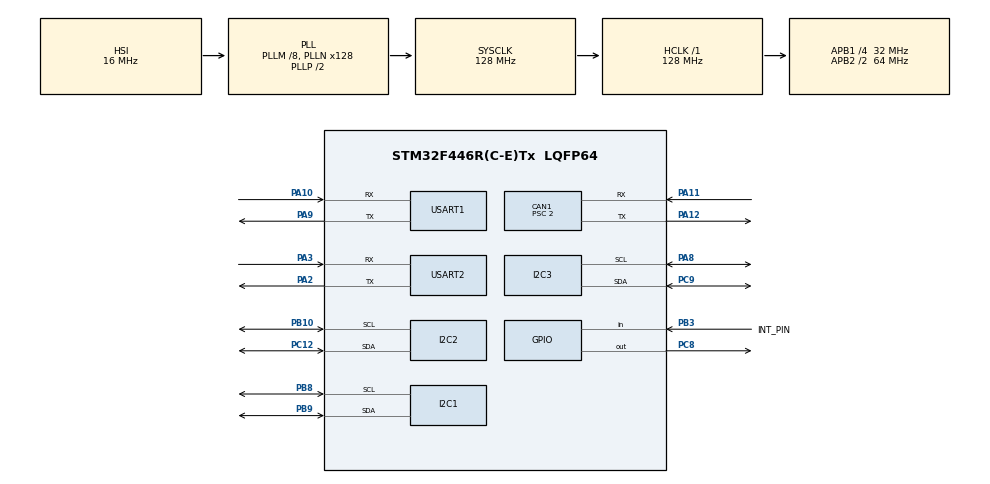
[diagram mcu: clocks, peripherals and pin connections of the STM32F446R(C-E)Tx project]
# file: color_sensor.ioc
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CAN1.BS1=CAN_BS1_14TQ
CAN1.CalculateBaudRate=1000000
CAN1.CalculateTimeBit=1000
CAN1.CalculateTimeQuantum=62.5
CAN1.Prescaler=2
Dma.Request0=USART2_RX
Dma.Request1=USART2_TX
Dma.USART2_RX.0.Direction=DMA_PERIPH_TO_MEMORY
Dma.USART2_RX.0.FIFOMode=DMA_FIFOMODE_DISABLE
Dma.USART2_RX.0.Instance=DMA1_Stream5
Dma.USART2_RX.0.MemDataAlignment=DMA_MDATAALIGN_BYTE
Dma.USART2_RX.0.MemInc=DMA_MINC_ENABLE
Dma.USART2_RX.0.Mode=DMA_NORMAL
Dma.USART2_RX.0.PeriphDataAlignment=DMA_PDATAALIGN_BYTE
Dma.USART2_RX.0.PeriphInc=DMA_PINC_DISABLE
Dma.USART2_RX.0.Priority=DMA_PRIORITY_LOW
Dma.USART2_TX.1.Direction=DMA_MEMORY_TO_PERIPH
Dma.USART2_TX.1.FIFOMode=DMA_FIFOMODE_DISABLE
Dma.USART2_TX.1.Instance=DMA1_Stream6
Dma.USART2_TX.1.MemDataAlignment=DMA_MDATAALIGN_BYTE
Dma.USART2_TX.1.MemInc=DMA_MINC_ENABLE
Dma.USART2_TX.1.Mode=DMA_NORMAL
Dma.USART2_TX.1.PeriphDataAlignment=DMA_PDATAALIGN_BYTE
Dma.USART2_TX.1.PeriphInc=DMA_PINC_DISABLE
Dma.USART2_TX.1.Priority=DMA_PRIORITY_LOW
I2C1.I2C_Mode=I2C_Standard
I2C3.I2C_Mode=I2C_Fast
Mcu.Family=STM32F4
Mcu.Name=STM32F446R(C-E)Tx
Mcu.Package=LQFP64
NVIC.DMA1_Stream5_IRQn=true\:0\:0\:false\:false\:true\:false\:true\:true
NVIC.DMA1_Stream6_IRQn=true\:0\:0\:false\:false\:true\:false\:true\:true
NVIC.PriorityGroup=NVIC_PRIORITYGROUP_0
NVIC.TIM8_BRK_TIM12_IRQn=true\:0\:0\:false\:false\:true\:true\:true\:true
PA10.Mode=Asynchronous
PA10.Signal=USART1_RX
PA11.Mode=CAN_Activate
PA11.Signal=CAN1_RX
PA12.Mode=CAN_Activate
PA12.Signal=CAN1_TX
PA2.Mode=Asynchronous
PA2.Signal=USART2_TX
PA3.Mode=Asynchronous
PA3.Signal=USART2_RX
PA8.Mode=I2C
PA8.Signal=I2C3_SCL
PA9.Mode=Asynchronous
PA9.Signal=USART1_TX
PB10.Mode=I2C
PB10.Signal=I2C2_SCL
PB3.GPIO_Label=INT_PIN
PB3.Signal=GPIO_Input
PB8.Mode=I2C
PB8.Signal=I2C1_SCL
PB9.Mode=I2C
PB9.Signal=I2C1_SDA
PC12.Mode=I2C
PC12.Signal=I2C2_SDA
PC8.Signal=GPIO_Output
PC9.Mode=I2C
PC9.Signal=I2C3_SDA
ProjectManager.HeapSize=0x200
ProjectManager.StackSize=0x400
ProjectManager.TargetToolchain=STM32CubeIDE
RCC.48MHZClocksFreq_Value=84000000
RCC.AHBFreq_Value=128000000
RCC.APB1CLKDivider=RCC_HCLK_DIV4
RCC.APB1Freq_Value=32000000
RCC.APB1TimFreq_Value=64000000
RCC.APB2CLKDivider=RCC_HCLK_DIV2
RCC.APB2Freq_Value=64000000
RCC.APB2TimFreq_Value=128000000
RCC.CortexFreq_Value=128000000
RCC.FLatency-AdvancedSettings=FLASH_LATENCY_4
RCC.HCLKFreq_Value=128000000
RCC.HSE_VALUE=8000000
RCC.HSI_VALUE=16000000
RCC.PLLM=8
RCC.PLLN=128
RCC.SYSCLKFreq_VALUE=128000000
RCC.SYSCLKSource=RCC_SYSCLKSOURCE_PLLCLK
RCC.USBFreq_Value=128000000
RCC.VCOOutputFreq_Value=256000000
TIM12.AutoReloadPreload=TIM_AUTORELOAD_PRELOAD_ENABLE
TIM12.Period=2-1
TIM12.Prescaler=64000-1
USART1.VirtualMode=VM_ASYNC
USART2.VirtualMode=VM_ASYNC
VP_TIM12_VS_ClockSourceINT.Mode=Internal
board=NUCLEO-F446RE

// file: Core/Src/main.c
/* USER CODE BEGIN Header */
/**
  ******************************************************************************
  * @file           : main.c
  * @brief          : Main program body
  ******************************************************************************
  * @attention
  *
  * Copyright (c) 2024 STMicroelectronics.
  * All rights reserved.
  *
  * This software is licensed under terms that can be found in the LICENSE file
  * in the root directory of this software component.
  * If no LICENSE file comes with this software, it is provided AS-IS.
  *
  ******************************************************************************
  */
/* USER CODE END Header */
#include "main.h"

/* USER CODE BEGIN Includes */
#include "DEV_Config.h"
#include "TCS34725.h"
#include "string.h"
#include "stdio.h"
#include "math.h"
#include "stm32f4xx_hal.h"
#include "stm32f4xx.h"
/* USER CODE END Includes */

/* USER CODE BEGIN PD */
#define MPU6050_ADDR 0xD0
#define SMPLRT_DIV_REG 0x19
#define GYRO_CONFIG_REG 0x1B
#define ACCEL_CONFIG_REG 0x1C
#define ACCEL_XOUT_H_REG 0x3B
#define TEMP_OUT_H_REG 0x41
#define GYRO_XOUT_H_REG 0x43
#define PWR_MGMT_1_REG 0x6B
#define WHO_AM_I_REG 0x75
#define BUFFER_SIZE 8
#define CAN1_DEVICE_NUM     4
#define FIRST_GROUP_ID      0x205
#define CAN_DATA_SIZE       8
#define CAN1_RX_ID_START    0x200
/* USER CODE END PD */

CAN_HandleTypeDef hcan1;

I2C_HandleTypeDef hi2c1;
I2C_HandleTypeDef hi2c2;
I2C_HandleTypeDef hi2c3;

TIM_HandleTypeDef htim12;

UART_HandleTypeDef huart1;
UART_HandleTypeDef huart2;
DMA_HandleTypeDef hdma_usart2_rx;
DMA_HandleTypeDef hdma_usart2_tx;

/* USER CODE BEGIN PV */
uint16_t Accel_X_Raw;
uint16_t Accel_Y_Raw;
uint16_t Accel_Z_Raw;
float Ax;
float Ay;
float Az;
int16_t Gyro_X_Raw;
int16_t Gyro_Y_Raw;
int16_t Gyro_Z_Raw;
float Gx;
float Gy;
float Gz;
float angle_deg;
int8_t msg1;
int8_t msg2;
int8_t msg3;
int8_t msg4;
int8_t msg5;
int8_t msg6;
uint8_t buffer[BUFFER_SIZE];

//#define KALMAN_FILTER_ON
//// +++ kalman filter ++++++++++++++++++++++
//#ifdef KALMAN_FILTER_ON
//  double kf_A = 1;            // State transition matrix
//  double kf_H = 1;            // Measurement matrix
//  double kf_Q = 0.1;         // Process noise covariance
//  double kf_R = 1;         // Measurement noise covariance
//  double kf_X = 0;            // Initial state estimate
//  double kf_P = 1;            // Initial state covariance
//#endif

CAN_FilterTypeDef sFilterConfig;
CAN_TxHeaderTypeDef TxHeader;
CAN_RxHeaderTypeDef RxHeader;

/* USER CODE END PV */

void SystemClock_Config(void);
//static void MX_GPIO_Init(void);
static void MX_DMA_Init(void);
static void MX_USART2_UART_Init(void);
static void MX_I2C1_Init(void);
static void MX_USART1_UART_Init(void);
static void MX_I2C3_Init(void);
static void MX_CAN1_Init(void);
static void MX_I2C2_Init(void);
static void MX_TIM12_Init(void);
/* USER CODE BEGIN PFP */
void can_transmit(CAN_HandleTypeDef* hcan1, uint16_t id, int8_t msg1, int8_t msg2, int8_t msg3);

/* USER CODE END PFP */

/* USER CODE BEGIN 0 */

void can_transmit(CAN_HandleTypeDef* hcan, uint16_t id, int8_t msg1, int8_t msg2, int8_t msg3){
    CAN_TxHeaderTypeDef tx_header;
    uint8_t             buffer[8];
    uint32_t            pTxMailbox;

    tx_header.StdId = id;
    tx_header.IDE   = CAN_ID_STD;
    tx_header.RTR   = CAN_RTR_DATA;
    tx_header.DLC   = CAN_DATA_SIZE;
    tx_header.TransmitGlobalTime = DISABLE;
    buffer[0] = msg1;
    buffer[1] = msg2;
    buffer[3] = msg3;
//    buffer[4] = msg4;
//    buffer[5] = msg5;
//    buffer[6] = msg6;

    if (HAL_CAN_AddTxMessage(hcan, &tx_header, buffer, &pTxMailbox) == HAL_OK){
        while (HAL_CAN_IsTxMessagePending(hcan, pTxMailbox));
    }

}

void MPU6050_Init (void)
{
	uint8_t check, Data;
	HAL_I2C_Mem_Read (&hi2c3, MPU6050_ADDR, WHO_AM_I_REG,1,&check,1,1000);

	if( check == 104)
	{
		Data=0;
		HAL_I2C_Mem_Write(&hi2c3, MPU6050_ADDR, PWR_MGMT_1_REG, 1, &Data, 1, 1000);

		Data=0x07;
		HAL_I2C_Mem_Write(&hi2c3, MPU6050_ADDR, SMPLRT_DIV_REG, 1, &Data, 1, 1000);

		Data=0x00;
		HAL_I2C_Mem_Write(&hi2c3, MPU6050_ADDR, ACCEL_CONFIG_REG, 1, &Data, 1, 1000);

		Data=0x00;
		HAL_I2C_Mem_Write(&hi2c3, MPU6050_ADDR, GYRO_CONFIG_REG, 1, &Data, 1, 1000);
	}
}
	void MPU6050_Read_Accel(void)
	{
		uint8_t Rec_Data[6];
		HAL_I2C_Mem_Read(&hi2c3, MPU6050_ADDR, ACCEL_XOUT_H_REG, 1, Rec_Data, 6, 1000);

		Accel_X_Raw=(int16_t)(Rec_Data[0] << 8 | Rec_Data[1]);
		Accel_Y_Raw=(int16_t)(Rec_Data[2] << 8 | Rec_Data[3]);
		Accel_Z_Raw=(int16_t)(Rec_Data[4] << 8 | Rec_Data[5]);

		Ax=Accel_X_Raw/4096.0;
		Ay=Accel_Y_Raw/4096.0;
		Az=Accel_Z_Raw/4096.0;
	}

	void MPU6050_Read_Gyro(void)
	{
		uint8_t Rec_Data[6];
		HAL_I2C_Mem_Read(&hi2c3, MPU6050_ADDR, GYRO_XOUT_H_REG, 1, Rec_Data, 6, 1000);

		Gyro_X_Raw=(int16_t)(Rec_Data[0] << 8 | Rec_Data[1]);
		Gyro_Y_Raw=(int16_t)(Rec_Data[2] << 8 | Rec_Data[3]);
		Gyro_Z_Raw=(int16_t)(Rec_Data[4] << 8 | Rec_Data[5]);

		Gx=Gyro_X_Raw/131.0;
		Gy=Gyro_Y_Raw/131.0;
		Gz=Gyro_Z_Raw/131.0;
	}

	float Accel_X_Angle(float Ax, float Ay, float Az) {
//	    float angle_rad = atan2(Ay/ (sqrt(Az * Az + Ax * Ax)));
//	    float angle_deg = angle_rad * 180.0 / M_PI;
		float angle_deg = (180/3.141592)*(atan(Az/Ax));
		return angle_deg;
	}
	float Accel_Y_Angle(float Ax, float Ay, float Az) {
//	    float angle_rad = atan2(Ax, sqrt(Az * Az + Ay * Ay));
//	    float angle_deg = angle_rad * 180.0 / M_PI;
		float angle_deg = ((180/3.141592) * atan(Ay / sqrt(pow(Ax, 2) + pow(Az, 2))))*100;
			    return angle_deg;
	}

	float Accel_Z_Angle(float Ax, float Ay, float Az) {
//	    float angle_rad = atan2(sqrt(Ax * Ax + Ay * Ay), Az);
//	    float angle_deg = angle_rad * 180.0 / M_PI;
		float angle_deg = (180/3.141592) * atan(sqrt((Ay) + (Ax)) / Az);

	    return angle_deg;
	}
//	void HAL_TIM_PeriodElapsedCallback(TIM_HandleTypeDef *htim12) {
//
////	    	RGB rgb;
////	    	MPU6050_Read_Accel();
////	    		  	MPU6050_Read_Gyro();
//	    	//		rgb=TCS34725_Get_RGBData();
//	    	//		RGB888=TCS34725_GetRGB888(rgb);
//
////	    			float angle_X = Accel_X_Angle(Ax, Ay, Az);
////	    			float angle_Y = Accel_Y_Angle(Ax, Ay, Az);
////	    			float angle_Z = Accel_Z_Angle(Ax, Ay, Az);
////
////	    			buffer[0]= angle_X;
////	    			buffer[1]= angle_Y;
////	    			buffer[2]= angle_Z;
//
////			buffer[3]=RGB888>>16 ;
////			buffer[4]=(RGB888>>8) & 0xff;
////			buffer[5]=(RGB888) & 0xff;
//			 can_transmit(&hcan1, 0x190, msg1, msg2, msg3);
//
//	    }

/* USER CODE END 0 */

int main(void)
{
  /* USER CODE BEGIN 1 */
//	RGB rgb;
//	UDOUBLE RGB888=0;
//	UWORD RGB565=0;
  /* USER CODE END 1 */

  /* MCU Configuration--------------------------------------------------------*/

  /* Reset of all peripherals, Initializes the Flash interface and the Systick. */
  HAL_Init();

  /* Configure the system clock */
  SystemClock_Config();

  /* Initialize all configured peripherals */
  MX_GPIO_Init();
  MX_DMA_Init();
  MX_USART2_UART_Init();
  MX_I2C1_Init();
  MX_USART1_UART_Init();
  MX_I2C3_Init();
  MX_CAN1_Init();
  MX_I2C2_Init();
  MX_TIM12_Init();
  /* USER CODE BEGIN 2 */
  MX_GPIO_Init();
  MPU6050_Init();
  HAL_TIM_Base_Start_IT(&htim12);
//	HAL_TIM_PWM_Start(&htim2, TIM_CHANNEL_3);
	if(TCS34725_Init() != 0){
      printf("TCS34725 initialization error!!\n");
  }
	else{
  printf("TCS34725 initialization success!!\n");
	}
	uint8_t data[] = "HELLO WORLD \r\n";

	HAL_UART_Transmit (&huart1, data, sizeof (data), 10);
  /* USER CODE END 2 */

  /* Infinite loop */
  /* USER CODE BEGIN WHILE */
  while (1)
  {

	  	MPU6050_Read_Accel();
//	  	MPU6050_Read_Gyro();
//		rgb=TCS34725_Get_RGBData();
//		RGB888=TCS34725_GetRGB888(rgb);

		float angle_X = Accel_X_Angle(Ax, Ay, Az);
		float angle_Y = Accel_Y_Angle(Ax, Ay, Az);
		float angle_Z = Accel_Z_Angle(Ax, Ay, Az);

		buffer[0]= angle_X;
		buffer[1]= angle_Y;
		buffer[2]= angle_Z;

//		HAL_TIM_Base_Start_IT(&htim12);
//		buffer[3]=RGB888>>16 ;
//		buffer[4]=(RGB888>>8) & 0xff;
//		buffer[5]=(RGB888) & 0xff;

		//=== kalmant filter  ====
//		    #ifdef KALMAN_FILTER_ON
//		      // prediction
//		      double x_pred = kf_A * kf_X;
//		      double P_pred = kf_A * kf_P * kf_A + kf_Q;
//		      // update
//		      double K = (P_pred * kf_H)/(kf_H * P_pred * kf_H + kf_R);
//		      kf_X = x_pred + K*( Ax - kf_H*x_pred);
//		      kf_P = (1 - K * kf_H)*P_pred;
//		      // -----------------------
//		      x = kf_X*100;
//		    #endif
//		can_transmit(&hcan1, 0x205, angle_X, msg2, msg3);
//		HAL_Delay(200);
    /* USER CODE END WHILE */

  }
}

void SystemClock_Config(void)
{
  RCC_OscInitTypeDef RCC_OscInitStruct = {0};
  RCC_ClkInitTypeDef RCC_ClkInitStruct = {0};

  /** Configure the main internal regulator output voltage
  */
  __HAL_RCC_PWR_CLK_ENABLE();
  __HAL_PWR_VOLTAGESCALING_CONFIG(PWR_REGULATOR_VOLTAGE_SCALE2);

  /** Initializes the RCC Oscillators according to the specified parameters
  * in the RCC_OscInitTypeDef structure.
  */
  RCC_OscInitStruct.OscillatorType = RCC_OSCILLATORTYPE_HSI;
  RCC_OscInitStruct.HSIState = RCC_HSI_ON;
  RCC_OscInitStruct.HSICalibrationValue = RCC_HSICALIBRATION_DEFAULT;
  RCC_OscInitStruct.PLL.PLLState = RCC_PLL_ON;
  RCC_OscInitStruct.PLL.PLLSource = RCC_PLLSOURCE_HSI;
  RCC_OscInitStruct.PLL.PLLM = 8;
  RCC_OscInitStruct.PLL.PLLN = 128;
  RCC_OscInitStruct.PLL.PLLP = RCC_PLLP_DIV2;
  RCC_OscInitStruct.PLL.PLLQ = 2;
  RCC_OscInitStruct.PLL.PLLR = 2;
  if (HAL_RCC_OscConfig(&RCC_OscInitStruct) != HAL_OK)
  {
    Error_Handler();
  }

  /** Initializes the CPU, AHB and APB buses clocks
  */
  RCC_ClkInitStruct.ClockType = RCC_CLOCKTYPE_HCLK|RCC_CLOCKTYPE_SYSCLK
                              |RCC_CLOCKTYPE_PCLK1|RCC_CLOCKTYPE_PCLK2;
  RCC_ClkInitStruct.SYSCLKSource = RCC_SYSCLKSOURCE_PLLCLK;
  RCC_ClkInitStruct.AHBCLKDivider = RCC_SYSCLK_DIV1;
  RCC_ClkInitStruct.APB1CLKDivider = RCC_HCLK_DIV4;
  RCC_ClkInitStruct.APB2CLKDivider = RCC_HCLK_DIV2;

  if (HAL_RCC_ClockConfig(&RCC_ClkInitStruct, FLASH_LATENCY_4) != HAL_OK)
  {
    Error_Handler();
  }
}

static void MX_CAN1_Init(void)
{

  hcan1.Instance = CAN1;
  hcan1.Init.Prescaler = 2;
  hcan1.Init.Mode = CAN_MODE_NORMAL;
  hcan1.Init.SyncJumpWidth = CAN_SJW_1TQ;
  hcan1.Init.TimeSeg1 = CAN_BS1_14TQ;
  hcan1.Init.TimeSeg2 = CAN_BS2_1TQ;
  hcan1.Init.TimeTriggeredMode = DISABLE;
  hcan1.Init.AutoBusOff = DISABLE;
  hcan1.Init.AutoWakeUp = DISABLE;
  hcan1.Init.AutoRetransmission = DISABLE;
  hcan1.Init.ReceiveFifoLocked = DISABLE;
  hcan1.Init.TransmitFifoPriority = DISABLE;
  if (HAL_CAN_Init(&hcan1) != HAL_OK)
  {
    Error_Handler();
  }
  /* USER CODE BEGIN CAN1_Init 2 */
   //S.ID=0x191;
   sFilterConfig.FilterBank = 0;
   sFilterConfig.FilterMode = CAN_FILTERMODE_IDMASK;
   sFilterConfig.FilterScale = CAN_FILTERSCALE_32BIT;
   sFilterConfig.FilterIdHigh = 0x205;
   sFilterConfig.FilterIdLow = 0x205;
   sFilterConfig.FilterMaskIdHigh = 0x0000;
   sFilterConfig.FilterMaskIdLow = 0x0000;
   sFilterConfig.FilterFIFOAssignment = CAN_RX_FIFO0;
   sFilterConfig.FilterActivation = ENABLE;
   sFilterConfig.SlaveStartFilterBank = 14;
   if (HAL_CAN_ConfigFilter(&hcan1, &sFilterConfig) != HAL_OK) {
     	Error_Handler();
   }

   if (HAL_CAN_Start(&hcan1) != HAL_OK) {
     	Error_Handler();
   }

   if (HAL_CAN_ActivateNotification(&hcan1, CAN_IT_RX_FIFO0_MSG_PENDING) != HAL_OK) {
     	Error_Handler();
   }
  /* USER CODE END CAN1_Init 2 */

}

static void MX_I2C1_Init(void)
{

  hi2c1.Instance = I2C1;
  hi2c1.Init.ClockSpeed = 100000;
  hi2c1.Init.DutyCycle = I2C_DUTYCYCLE_2;
  hi2c1.Init.OwnAddress1 = 0;
  hi2c1.Init.AddressingMode = I2C_ADDRESSINGMODE_7BIT;
  hi2c1.Init.DualAddressMode = I2C_DUALADDRESS_DISABLE;
  hi2c1.Init.OwnAddress2 = 0;
  hi2c1.Init.GeneralCallMode = I2C_GENERALCALL_DISABLE;
  hi2c1.Init.NoStretchMode = I2C_NOSTRETCH_DISABLE;
  if (HAL_I2C_Init(&hi2c1) != HAL_OK)
  {
    Error_Handler();
  }

}

static void MX_I2C2_Init(void)
{

  hi2c2.Instance = I2C2;
  hi2c2.Init.ClockSpeed = 100000;
  hi2c2.Init.DutyCycle = I2C_DUTYCYCLE_2;
  hi2c2.Init.OwnAddress1 = 0;
  hi2c2.Init.AddressingMode = I2C_ADDRESSINGMODE_7BIT;
  hi2c2.Init.DualAddressMode = I2C_DUALADDRESS_DISABLE;
  hi2c2.Init.OwnAddress2 = 0;
  hi2c2.Init.GeneralCallMode = I2C_GENERALCALL_DISABLE;
  hi2c2.Init.NoStretchMode = I2C_NOSTRETCH_DISABLE;
  if (HAL_I2C_Init(&hi2c2) != HAL_OK)
  {
    Error_Handler();
  }

}

static void MX_I2C3_Init(void)
{

  hi2c3.Instance = I2C3;
  hi2c3.Init.ClockSpeed = 400000;
  hi2c3.Init.DutyCycle = I2C_DUTYCYCLE_2;
  hi2c3.Init.OwnAddress1 = 0;
  hi2c3.Init.AddressingMode = I2C_ADDRESSINGMODE_7BIT;
  hi2c3.Init.DualAddressMode = I2C_DUALADDRESS_DISABLE;
  hi2c3.Init.OwnAddress2 = 0;
  hi2c3.Init.GeneralCallMode = I2C_GENERALCALL_DISABLE;
  hi2c3.Init.NoStretchMode = I2C_NOSTRETCH_DISABLE;
  if (HAL_I2C_Init(&hi2c3) != HAL_OK)
  {
    Error_Handler();
  }

}

static void MX_TIM12_Init(void)
{

  TIM_ClockConfigTypeDef sClockSourceConfig = {0};

  htim12.Instance = TIM12;
  htim12.Init.Prescaler = 64000-1;
  htim12.Init.CounterMode = TIM_COUNTERMODE_UP;
  htim12.Init.Period = 2-1;
  htim12.Init.ClockDivision = TIM_CLOCKDIVISION_DIV1;
  htim12.Init.AutoReloadPreload = TIM_AUTORELOAD_PRELOAD_ENABLE;
  if (HAL_TIM_Base_Init(&htim12) != HAL_OK)
  {
    Error_Handler();
  }
  sClockSourceConfig.ClockSource = TIM_CLOCKSOURCE_INTERNAL;
  if (HAL_TIM_ConfigClockSource(&htim12, &sClockSourceConfig) != HAL_OK)
  {
    Error_Handler();
  }

}

static void MX_USART1_UART_Init(void)
{

  huart1.Instance = USART1;
  huart1.Init.BaudRate = 115200;
  huart1.Init.WordLength = UART_WORDLENGTH_8B;
  huart1.Init.StopBits = UART_STOPBITS_1;
  huart1.Init.Parity = UART_PARITY_NONE;
  huart1.Init.Mode = UART_MODE_TX_RX;
  huart1.Init.HwFlowCtl = UART_HWCONTROL_NONE;
  huart1.Init.OverSampling = UART_OVERSAMPLING_16;
  if (HAL_UART_Init(&huart1) != HAL_OK)
  {
    Error_Handler();
  }

}

static void MX_USART2_UART_Init(void)
{

  huart2.Instance = USART2;
  huart2.Init.BaudRate = 115200;
  huart2.Init.WordLength = UART_WORDLENGTH_8B;
  huart2.Init.StopBits = UART_STOPBITS_1;
  huart2.Init.Parity = UART_PARITY_NONE;
  huart2.Init.Mode = UART_MODE_TX_RX;
  huart2.Init.HwFlowCtl = UART_HWCONTROL_NONE;
  huart2.Init.OverSampling = UART_OVERSAMPLING_16;
  if (HAL_UART_Init(&huart2) != HAL_OK)
  {
    Error_Handler();
  }

}

static void MX_DMA_Init(void)
{

  /* DMA controller clock enable */
  __HAL_RCC_DMA1_CLK_ENABLE();

  /* DMA interrupt init */
  /* DMA1_Stream5_IRQn interrupt configuration */
  HAL_NVIC_SetPriority(DMA1_Stream5_IRQn, 0, 0);
  HAL_NVIC_EnableIRQ(DMA1_Stream5_IRQn);
  /* DMA1_Stream6_IRQn interrupt configuration */
  HAL_NVIC_SetPriority(DMA1_Stream6_IRQn, 0, 0);
  HAL_NVIC_EnableIRQ(DMA1_Stream6_IRQn);

}

//static void MX_GPIO_Init(void)
//{
//  GPIO_InitTypeDef GPIO_InitStruct = {0};
///* USER CODE BEGIN MX_GPIO_Init_1 */
///* USER CODE END MX_GPIO_Init_1 */
//
//  /* GPIO Ports Clock Enable */
//  __HAL_RCC_GPIOA_CLK_ENABLE();
//  __HAL_RCC_GPIOB_CLK_ENABLE();
//  __HAL_RCC_GPIOC_CLK_ENABLE();
//
//  /*Configure GPIO pin Output Level */
//  HAL_GPIO_WritePin(GPIOC, GPIO_PIN_8, GPIO_PIN_RESET);
//
//  /*Configure GPIO pin : PC8 */
//  GPIO_InitStruct.Pin = GPIO_PIN_8;
//  GPIO_InitStruct.Mode = GPIO_MODE_OUTPUT_PP;
//  GPIO_InitStruct.Pull = GPIO_NOPULL;
//  GPIO_InitStruct.Speed = GPIO_SPEED_FREQ_LOW;
//  HAL_GPIO_Init(GPIOC, &GPIO_InitStruct);
//
//  /*Configure GPIO pin : INT_PIN_Pin */
//  GPIO_InitStruct.Pin = INT_PIN_Pin;
//  GPIO_InitStruct.Mode = GPIO_MODE_INPUT;
//  GPIO_InitStruct.Pull = GPIO_NOPULL;
//  HAL_GPIO_Init(INT_PIN_GPIO_Port, &GPIO_InitStruct);
//
///* USER CODE BEGIN MX_GPIO_Init_2 */
///* USER CODE END MX_GPIO_Init_2 */
//}

void Error_Handler(void)
{
  __disable_irq();
  while (1)
  {
  }
}
